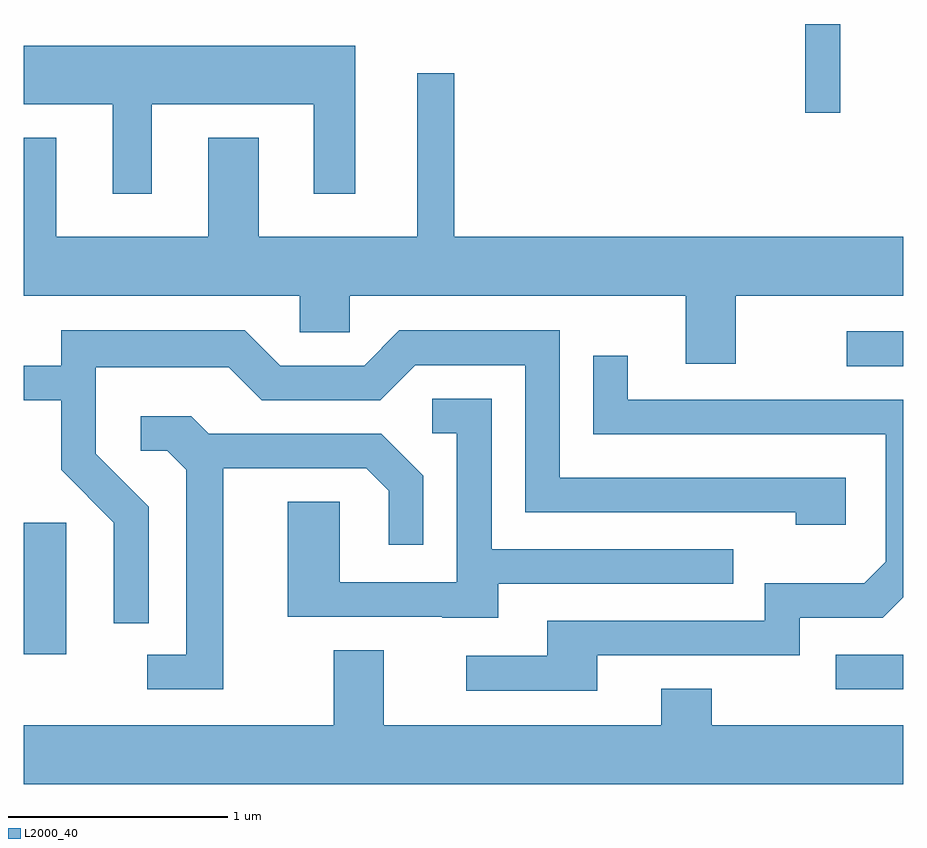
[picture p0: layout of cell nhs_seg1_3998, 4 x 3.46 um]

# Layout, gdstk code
import gdstk
lib = gdstk.Library(unit=1e-6, precision=1e-09)
def R(c, l, rs):  # rectangles x0, y0, x1, y1
    for r in rs: c.add(gdstk.rectangle(r[:2], r[2:], *l))
def P(c, l, *ps):  # polygons
    for p in ps: c.add(gdstk.Polygon(p, *l))
L2000_40 = (2000, 40)

nhs_seg1_3998 = lib.new_cell('nhs_seg1_3998')
R(nhs_seg1_3998, L2000_40, [(309.303,886.686,309.611,886.844), (305.611,886.846,305.804,887.444), (309.353,888.156,309.611,888.314), (309.166,889.308,309.324,889.712)])
P(nhs_seg1_3998, L2000_40, [(306.194,889.346),(306.931,889.346),(306.931,888.941),(307.119,888.941),(307.119,889.614),(305.611,889.614),(305.611,889.346),(306.016,889.346),(306.016,888.941),(306.194,888.941)],
  [(306.679,889.194),(306.451,889.194),(306.451,888.744),(305.759,888.744),(305.759,889.194),(305.611,889.194),(305.611,888.476),(306.866,888.476),(306.866,888.311),(307.094,888.311),(307.094,888.476),(308.621,888.476),(308.621,888.166),(308.849,888.166),(308.849,888.476),(309.611,888.476),(309.611,888.744),(307.569,888.744),(307.569,889.488),(307.401,889.488),(307.401,888.744),(306.679,888.744)],
  [(306.179,887.517),(305.939,887.757),(305.939,888.151),(306.544,888.151),(306.694,888.001),(307.232,888.001),(307.392,888.161),(307.891,888.161),(307.891,887.491),(309.121,887.491),(309.121,887.436),(309.349,887.436),(309.349,887.649),(308.049,887.649),(308.049,888.319),(307.319,888.319),(307.159,888.159),(306.777,888.159),(306.617,888.319),(305.781,888.319),(305.781,888.159),(305.611,888.159),(305.611,888.001),(305.781,888.001),(305.781,887.684),(306.021,887.444),(306.021,886.988),(306.179,886.988)],
  [(308.219,886.841),(309.139,886.841),(309.139,887.011),(309.517,887.011),(309.611,887.106),(309.611,888.004),(308.359,888.004),(308.359,888.203),(308.201,888.203),(308.201,887.846),(309.531,887.846),(309.531,887.267),(309.434,887.169),(308.981,887.169),(308.981,886.999),(307.991,886.999),(307.991,886.839),(307.623,886.839),(307.623,886.681),(308.219,886.681)],
  [(307.769,887.166),(308.838,887.166),(308.838,887.324),(307.739,887.324),(307.739,888.009),(307.468,888.009),(307.468,887.851),(307.581,887.851),(307.581,887.174),(307.049,887.174),(307.049,887.539),(306.811,887.539),(306.811,887.016),(307.515,887.016),(307.515,887.011),(307.769,887.011)],
  [(306.519,887.691),(307.169,887.691),(307.271,887.589),(307.271,887.343),(307.429,887.343),(307.429,887.657),(307.237,887.849),(306.452,887.849),(306.372,887.929),(306.143,887.929),(306.143,887.771),(306.264,887.771),(306.351,887.684),(306.351,886.844),(306.173,886.844),(306.173,886.686),(306.519,886.686)],
  [(309.611,886.524),(308.739,886.524),(308.739,886.689),(308.511,886.689),(308.511,886.524),(307.249,886.524),(307.249,886.864),(307.021,886.864),(307.021,886.524),(305.611,886.524),(305.611,886.256),(309.611,886.256)])

lib.write_gds('nhs_seg1_3998.gds')
